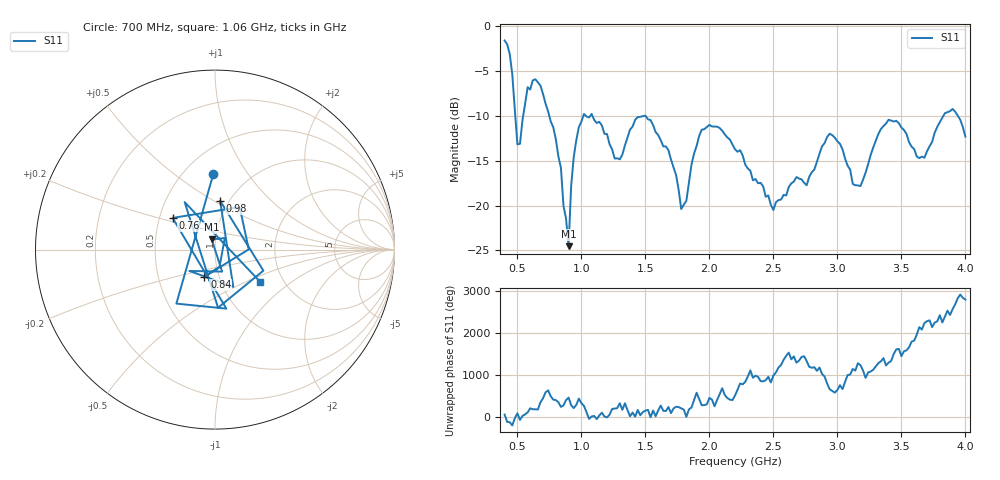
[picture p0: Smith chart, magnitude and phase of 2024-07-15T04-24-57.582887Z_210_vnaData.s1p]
!Created with skrf (http://scikit-rf.org).
# Hz S RI R 50.0
!freq ReS11 ImS11
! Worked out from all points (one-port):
!   181 points, 400 MHz to 4 GHz, reference 50 ohm
!   lowest |S11| = -24.5 dB at 900 MHz (marker M1), VSWR 1.13, Z = 47.9 + j5.43 ohm
!   |S11| at or under -10 dB: 749 MHz to 1.015 GHz (266 MHz wide, 30.2 % of centre); 1.086 GHz to 1.492 GHz (406 MHz wide, 31.5 % of centre); 1.501 GHz to 3.828 GHz (2.327 GHz wide, 87.3 % of centre) (the widest 3 of 6)
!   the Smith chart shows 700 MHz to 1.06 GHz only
!   S11 on the Smith chart (normalised r, x): 700 MHz: 0.69, +0.70; 760 MHz: 0.59, +0.23; 840 MHz: 0.85, -0.26; 980 MHz: 0.91, +0.53; 1.06 GHz: 1.53, -0.61
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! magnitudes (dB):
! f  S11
! 400 MHz  -1.6
! 460 MHz  -5.4
! 500 MHz  -13.2
! 580 MHz  -6.8
! 700 MHz  -7.6
! 760 MHz  -10.6
! 840 MHz  -15.8
! 860 MHz  -20.0
! 900 MHz  -24.5
! 920 MHz  -17.8
! 980 MHz  -11.3
! 1.06 GHz  -10.2
! 1.3 GHz  -14.8
! 1.5 GHz  -10.0
! 1.76 GHz  -18.3
! 1.82 GHz  -19.5
! 1.94 GHz  -11.5
! 2.2 GHz  -13.7
! 2.5 GHz  -20.5
! 2.66 GHz  -17.3
! 2.94 GHz  -12.0
! 3.1 GHz  -16.0
! 3.18 GHz  -17.8
! 3.4 GHz  -10.4
! 3.56 GHz  -12.9
! 3.68 GHz  -14.7
! 3.9 GHz  -9.2
! 4 GHz  -12.3
